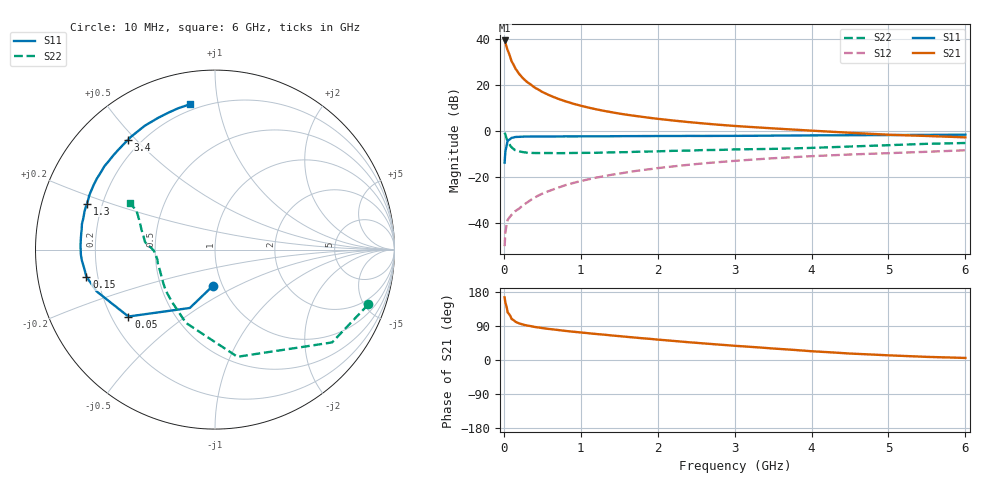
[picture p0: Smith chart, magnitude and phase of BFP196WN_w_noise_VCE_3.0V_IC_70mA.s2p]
! Infineon Technologies  Discrete & RF Semiconductors
! BFP196WN
! VCE =  3.0 V,  IC =  70 mA
! Common Emitter S-Parameters:  Jan 2017
# GHz  S  MA  R  50
!  f  S11  S21  S12  S22
! GHz  MAG  ANG  MAG  ANG  MAG  ANG  MAG  ANG
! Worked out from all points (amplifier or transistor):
!   77 points, 10 MHz to 6 GHz, reference 50 ohm
!   highest |S21| = 39.2 dB at 10 MHz (marker M1)
!   |S21| within 3 dB of that: start of sweep to 37.68 MHz
!   unconditionally stable (mu >= 1): 519.1 MHz to 2.738 GHz
!   at 130 MHz: K = 0.66, MSG = 32.0 dB, |S12| = -35.5 dB
!   at 2.2 GHz: K = 1.02, MAG = 9.2 dB, |S12| = -15.5 dB
!   at 6 GHz: K = 0.93, MSG = 2.8 dB, |S12| = -8.5 dB
!   lowest NFmin = 1.47 dB at 450 MHz
!   S11 on the Smith chart (normalised r, x): 10 MHz: 0.90, -0.38; 50 MHz: 0.27, -0.32; 150 MHz: 0.16, -0.10; 1.3 GHz: 0.14, +0.17; 3.4 GHz: 0.15, +0.48; 6 GHz: 0.17, +0.83
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0.01  0.2022 -93.3  91.67 165.4  0.0031 78.1  0.9071 -19.7
0.02  0.354 -113.3  81.56 151.2  0.0062 70.3  0.8325 -38.4
0.05  0.6098 -142.3  56.08 125.4  0.0116 53.2  0.6101 -78.2
0.1  0.699 -160.5  32.45 108.5  0.0148 52.0  0.4392 -111.6
0.15  0.7321 -168.0  22.54 101.0  0.018 54.9  0.377 -129.7
0.2  0.7373 -172.5  17.09 96.6  0.0204 59.1  0.3562 -140.6
0.25  0.7442 -175.3  13.77 93.4  0.0241 60.4  0.343 -147.3
0.3  0.7478 -177.8  11.53 91.1  0.0274 63.8  0.334 -153.0
0.4  0.7494 178.6  8.699 87.2  0.0353 66.9  0.328 -159.4
0.5  0.7498 175.8  6.97 84.2  0.0429 69.4  0.3277 -163.9
0.6  0.7505 173.4  5.822 81.6  0.05 69.7  0.3279 -167.3
0.7  0.7514 171.3  4.986 79.3  0.0574 70.5  0.3257 -169.7
0.9  0.7541 167.1  3.878 74.7  0.073 70.3  0.3289 -172.8
1.1  0.7576 163.6  3.186 70.7  0.0879 69.8  0.3309 -175.4
1.3  0.7578 160.2  2.707 66.9  0.1023 69.0  0.3357 -176.8
1.6  0.7634 155.4  2.226 61.1  0.1248 67.2  0.3428 -179.4
2.1  0.7677 147.5  1.743 52.2  0.1609 63.3  0.3614 177.7
3.1  0.7751 132.6  1.24 36.2  0.2276 54.4  0.3948 172.9
3.4  0.7807 128.3  1.153 31.9  0.2463 51.9  0.4013 170.7
4.1  0.7936 118.5  0.984 22.0  0.2849 45.5  0.4298 163.5
5.1  0.8076 107.7  0.809 11.5  0.3302 37.8  0.4923 153.6
6  0.8213 99.9  0.718 5.4  0.3763 31.7  0.5417 151.5
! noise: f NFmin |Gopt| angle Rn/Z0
0.45  1.47  0.57  -176  0.05
0.9  1.6  0.58  -169  0.06
1.9  2.54  0.7  -147  0.19
2.4  3.34  0.71  -139  0.32
